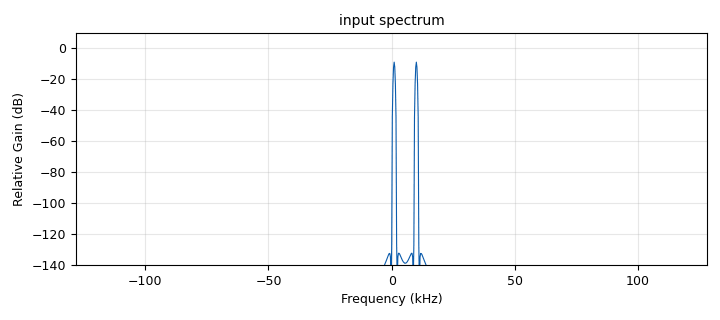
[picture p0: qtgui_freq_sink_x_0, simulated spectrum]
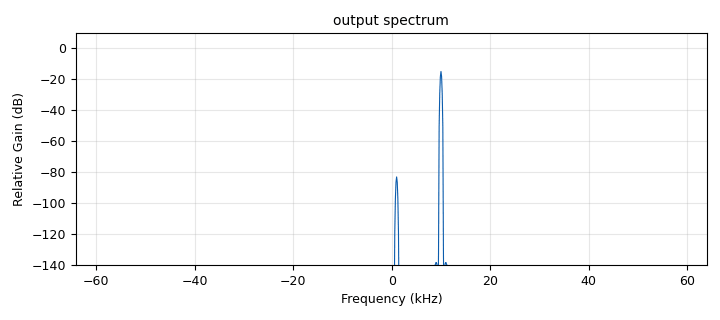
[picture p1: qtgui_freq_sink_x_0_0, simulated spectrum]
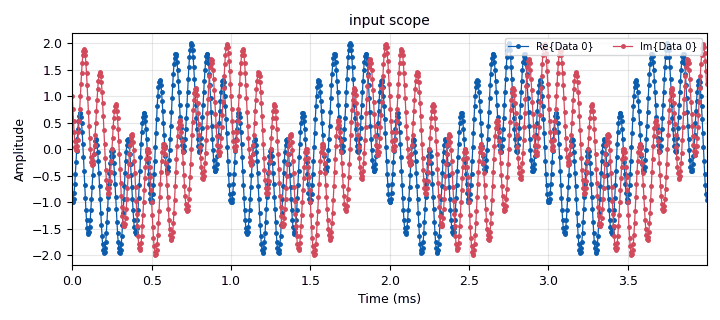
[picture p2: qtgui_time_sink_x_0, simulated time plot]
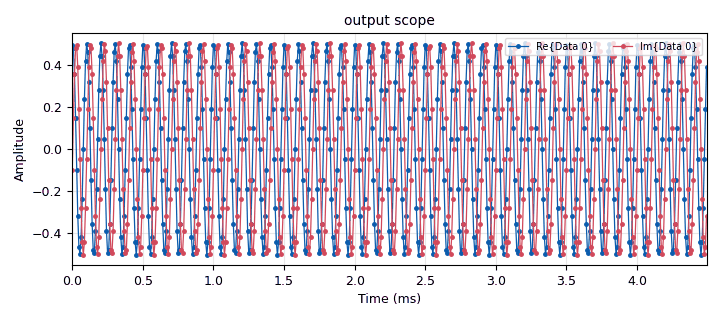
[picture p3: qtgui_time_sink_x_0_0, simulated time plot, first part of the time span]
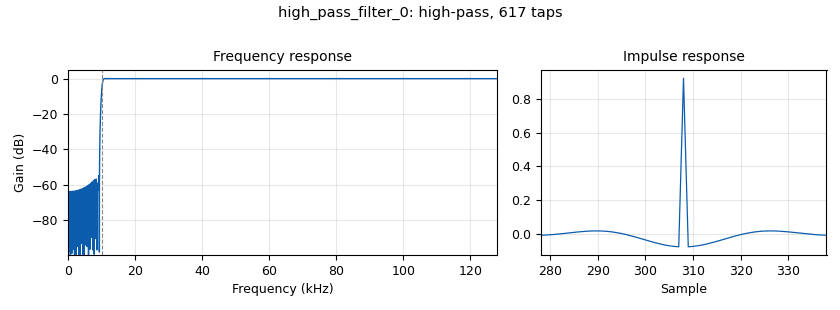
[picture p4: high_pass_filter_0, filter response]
options:
  parameters:
    author: wcc
    generate_options: qt_gui
    id: lab2_high_pass
    output_language: python
    title: lab2_high_pass
  states: {}

blocks:
- name: freq_0
  id: variable_qtgui_range
  parameters:
    label: Frequency_0
    orient: Qt.Horizontal
    rangeType: int
    start: '0'
    step: '1'
    stop: '15000'
    value: '1000'
  states: {}
- name: freq_1
  id: variable_qtgui_range
  parameters:
    label: Frequency_1
    orient: Qt.Horizontal
    rangeType: int
    start: '0'
    step: '1'
    stop: '15000'
    value: '10000'
  states: {}
- name: samp_rate
  id: variable
  parameters:
    value: '256000'
  states: {}
- name: analog_sig_source_x_0
  id: analog_sig_source_x
  parameters:
    amp: '1'
    freq: freq_0
    offset: '0'
    phase: '0'
    samp_rate: samp_rate
    type: complex
    waveform: analog.GR_COS_WAVE
  states: {}
- name: analog_sig_source_x_0_0
  id: analog_sig_source_x
  parameters:
    amp: '1'
    freq: freq_1
    offset: '0'
    phase: '0'
    samp_rate: samp_rate
    type: complex
    waveform: analog.GR_COS_WAVE
  states: {}
- name: blocks_add_xx_0
  id: blocks_add_xx
  parameters:
    type: complex
  states: {}
- name: blocks_throttle_0
  id: blocks_throttle
  parameters:
    samples_per_second: samp_rate
    type: complex
  states: {}
- name: high_pass_filter_0
  id: high_pass_filter
  parameters:
    cutoff_freq: '10000'
    decim: '2'
    gain: '1'
    samp_rate: samp_rate
    type: fir_filter_ccf
    width: '1000'
    win: firdes.WIN_HAMMING
  states: {}
- name: qtgui_freq_sink_x_0
  id: qtgui_freq_sink_x
  parameters:
    bw: samp_rate
    fc: '0'
    fftsize: '1024'
    name: '"input spectrum"'
    type: complex
    wintype: firdes.WIN_BLACKMAN_hARRIS
  states: {}
- name: qtgui_freq_sink_x_0_0
  id: qtgui_freq_sink_x
  parameters:
    bw: samp_rate/2
    fc: '0'
    fftsize: '1024'
    name: '"output spectrum"'
    type: complex
    wintype: firdes.WIN_BLACKMAN_hARRIS
  states: {}
- name: qtgui_time_sink_x_0
  id: qtgui_time_sink_x
  parameters:
    autoscale: 'True'
    marker1: '0'
    marker2: '0'
    name: '"input scope"'
    size: '1024'
    srate: samp_rate
    type: complex
  states: {}
- name: qtgui_time_sink_x_0_0
  id: qtgui_time_sink_x
  parameters:
    autoscale: 'True'
    color2: black
    grid: 'True'
    marker1: '1'
    marker2: '0'
    name: '"output scope"'
    size: '1024'
    srate: samp_rate/2
    type: complex
  states: {}

connections:
- [analog_sig_source_x_0, '0', blocks_add_xx_0, '0']
- [analog_sig_source_x_0_0, '0', blocks_add_xx_0, '1']
- [blocks_add_xx_0, '0', blocks_throttle_0, '0']
- [blocks_throttle_0, '0', high_pass_filter_0, '0']
- [blocks_throttle_0, '0', qtgui_freq_sink_x_0, '0']
- [blocks_throttle_0, '0', qtgui_time_sink_x_0, '0']
- [high_pass_filter_0, '0', qtgui_freq_sink_x_0_0, '0']
- [high_pass_filter_0, '0', qtgui_time_sink_x_0_0, '0']

metadata:
  file_format: 1
